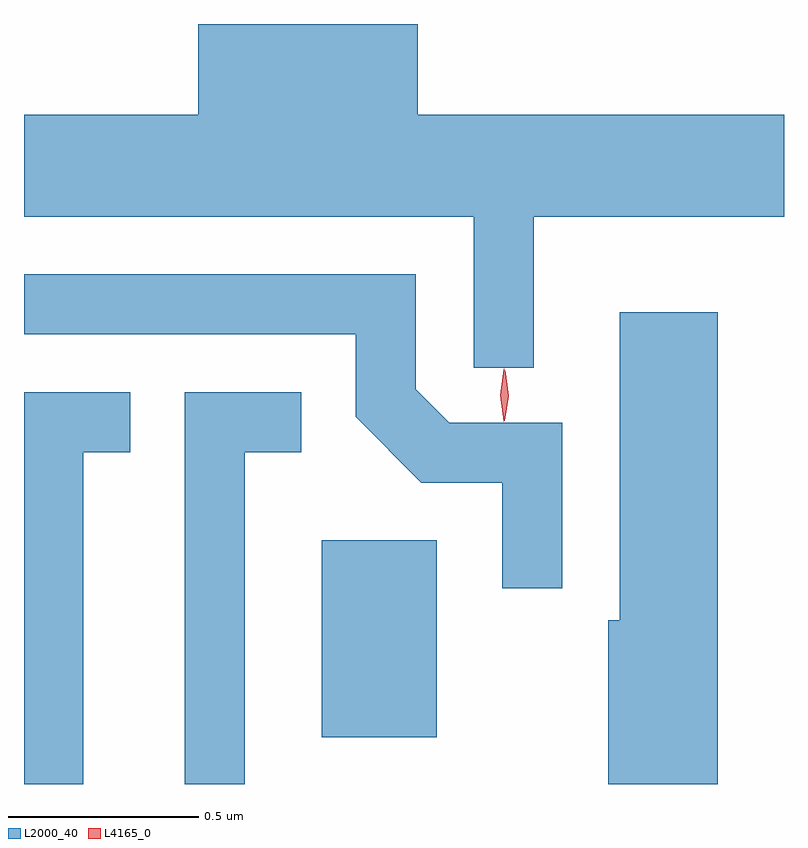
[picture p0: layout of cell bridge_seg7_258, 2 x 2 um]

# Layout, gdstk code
import gdstk
lib = gdstk.Library(unit=1e-6, precision=1e-09)
def R(c, l, rs):  # rectangles x0, y0, x1, y1
    for r in rs: c.add(gdstk.rectangle(r[:2], r[2:], *l))
def P(c, l, *ps):  # polygons
    for p in ps: c.add(gdstk.Polygon(p, *l))
L2000_40 = (2000, 40)
L4165_0 = (4165, 0)

bridge_seg7_258 = lib.new_cell('bridge_seg7_258')
R(bridge_seg7_258, L2000_40, [(1789.601,1697.406,1789.904,1697.924)])
P(bridge_seg7_258, L2000_40, [(1790.159,1698.776),(1790.818,1698.776),(1790.818,1699.044),(1789.854,1699.044),(1789.854,1699.283),(1789.276,1699.283),(1789.276,1699.044),(1788.818,1699.044),(1788.818,1698.776),(1790.001,1698.776),(1790.001,1698.378),(1790.159,1698.378)],
  [(1790.234,1698.234),(1789.937,1698.234),(1789.849,1698.322),(1789.849,1698.624),(1788.818,1698.624),(1788.818,1698.466),(1789.691,1698.466),(1789.691,1698.249),(1789.864,1698.076),(1790.076,1698.076),(1790.076,1697.798),(1790.234,1697.798)],
  [(1790.644,1698.524),(1790.386,1698.524),(1790.386,1697.714),(1790.356,1697.714),(1790.356,1697.283),(1790.644,1697.283)],
  [(1789.399,1698.156),(1789.548,1698.156),(1789.548,1698.314),(1789.241,1698.314),(1789.241,1697.283),(1789.399,1697.283)],
  [(1788.974,1698.156),(1789.098,1698.156),(1789.098,1698.314),(1788.818,1698.314),(1788.818,1697.283),(1788.974,1697.283)])
P(bridge_seg7_258, L4165_0, [(1790.08,1698.236),(1790.08,1698.237),(1790.071,1698.306),(1790.081,1698.375),(1790.082,1698.376),(1790.082,1698.375),(1790.091,1698.306),(1790.081,1698.237)],
  [(1790.082,1698.239),(1790.082,1698.239),(1790.073,1698.306),(1790.084,1698.372),(1790.084,1698.372),(1790.085,1698.372),(1790.093,1698.305),(1790.083,1698.239)])

lib.write_gds('bridge_seg7_258.gds')
